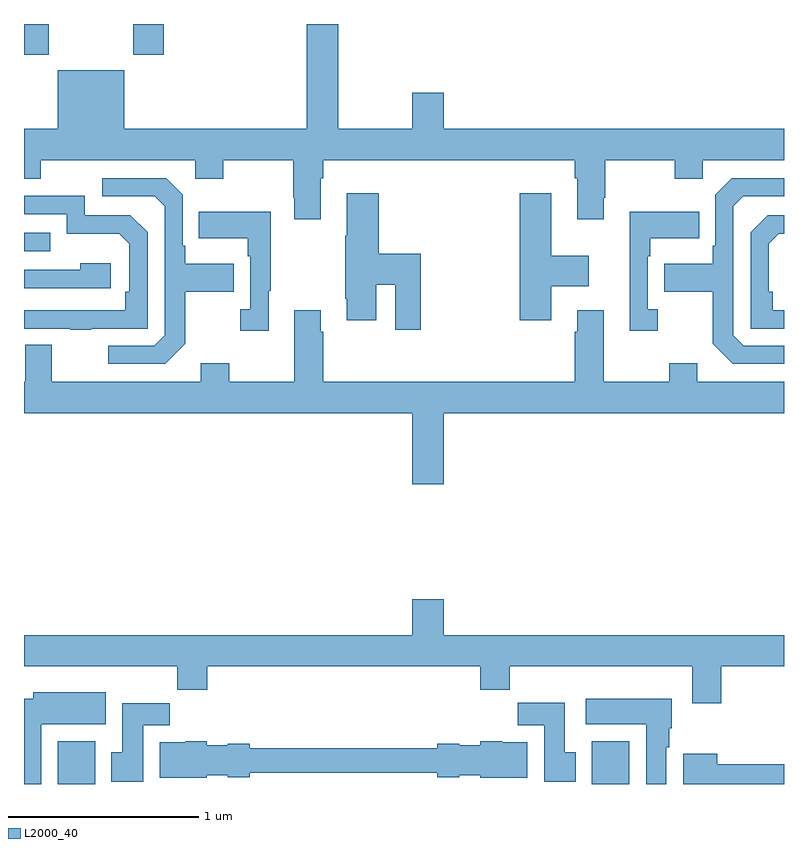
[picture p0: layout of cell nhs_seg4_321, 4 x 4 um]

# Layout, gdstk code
import gdstk
lib = gdstk.Library(unit=1e-6, precision=1e-09)
def R(c, l, rs):  # rectangles x0, y0, x1, y1
    for r in rs: c.add(gdstk.rectangle(r[:2], r[2:], *l))
def P(c, l, *ps):  # polygons
    for p in ps: c.add(gdstk.Polygon(p, *l))
L2000_40 = (2000, 40)

nhs_seg4_321 = lib.new_cell('nhs_seg4_321')
R(nhs_seg4_321, L2000_40, [(127.178,762.9,127.375,763.126), (129.989,762.9,130.186,763.126), (127,765.705,127.139,765.801), (127,766.737,127.131,766.9), (127.576,766.737,127.736,766.9)])
P(nhs_seg4_321, L2000_40, [(127.528,766.657),(127.178,766.657),(127.178,766.348),(127,766.348),(127,766.085),(127.089,766.085),(127.089,766.184),(127.902,766.184),(127.902,766.085),(128.049,766.085),(128.049,766.184),(128.416,766.184),(128.416,765.985),(128.423,765.985),(128.423,765.873),(128.563,765.873),(128.563,766.088),(128.576,766.088),(128.576,766.184),(129.899,766.184),(129.899,766.088),(129.911,766.088),(129.911,765.873),(130.051,765.873),(130.051,765.985),(130.059,765.985),(130.059,766.184),(130.426,766.184),(130.426,766.085),(130.572,766.085),(130.572,766.184),(131,766.184),(131,766.348),(129.208,766.348),(129.208,766.537),(129.044,766.537),(129.044,766.348),(128.653,766.348),(128.653,766.9),(128.489,766.9),(128.489,766.348),(127.528,766.348)],
  [(131,765.207),(130.788,765.207),(130.734,765.261),(130.734,765.942),(130.785,765.993),(131,765.993),(131,766.089),(130.725,766.089),(130.638,766.002),(130.638,765.733),(130.626,765.733),(130.626,765.637),(130.369,765.637),(130.369,765.49),(130.626,765.49),(130.626,765.217),(130.731,765.111),(131,765.111)],
  [(127.849,765.217),(127.849,765.49),(128.105,765.49),(128.105,765.637),(127.849,765.637),(127.849,765.733),(127.836,765.733),(127.836,766.002),(127.749,766.089),(127.413,766.089),(127.413,765.993),(127.689,765.993),(127.74,765.942),(127.74,765.261),(127.686,765.207),(127.443,765.207),(127.443,765.111),(127.743,765.111)],
  [(129.775,765.521),(129.973,765.521),(129.973,765.679),(129.775,765.679),(129.775,766.009),(129.608,766.009),(129.608,765.342),(129.775,765.342)],
  [(129.089,765.692),(128.867,765.692),(128.867,766.009),(128.699,766.009),(128.699,765.785),(128.692,765.785),(128.692,765.454),(128.699,765.454),(128.699,765.342),(128.854,765.342),(128.854,765.527),(128.954,765.527),(128.954,765.291),(129.089,765.291)],
  [(127.355,765.297),(127.65,765.297),(127.65,765.804),(127.56,765.894),(127.32,765.894),(127.32,765.996),(127,765.996),(127,765.9),(127.224,765.9),(127.224,765.797),(127.501,765.797),(127.554,765.744),(127.554,765.49),(127.534,765.49),(127.534,765.393),(127,765.393),(127,765.297),(127.243,765.297),(127.243,765.292),(127.355,765.292)],
  [(128.287,765.497),(128.299,765.497),(128.299,765.913),(127.921,765.913),(127.921,765.773),(128.178,765.773),(128.178,765.677),(128.19,765.677),(128.19,765.398),(128.139,765.398),(128.139,765.285),(128.287,765.285)],
  [(130.336,765.398),(130.284,765.398),(130.284,765.677),(130.297,765.677),(130.297,765.773),(130.553,765.773),(130.553,765.913),(130.187,765.913),(130.187,765.285),(130.336,765.285)],
  [(131,765.393),(130.94,765.393),(130.94,765.49),(130.92,765.49),(130.92,765.744),(130.973,765.797),(131,765.797),(131,765.894),(130.914,765.894),(130.824,765.804),(130.824,765.297),(131,765.297)],
  [(127.456,765.64),(127.295,765.64),(127.295,765.606),(127,765.606),(127,765.51),(127.456,765.51)],
  [(129.208,764.852),(131,764.852),(131,765.016),(130.543,765.016),(130.543,765.115),(130.396,765.115),(130.396,765.016),(130.051,765.016),(130.051,765.394),(129.911,765.394),(129.911,765.281),(129.899,765.281),(129.899,765.016),(128.576,765.016),(128.576,765.281),(128.563,765.281),(128.563,765.394),(128.423,765.394),(128.423,765.016),(128.079,765.016),(128.079,765.115),(127.931,765.115),(127.931,765.016),(127.147,765.016),(127.147,765.211),(127.007,765.211),(127.007,765.016),(127,765.016),(127,764.852),(129.044,764.852),(129.044,764.478),(129.208,764.478)],
  [(130.67,763.52),(131,763.52),(131,763.684),(129.208,763.684),(129.208,763.873),(129.044,763.873),(129.044,763.684),(127,763.684),(127,763.52),(127.807,763.52),(127.807,763.396),(127.964,763.396),(127.964,763.52),(129.401,763.52),(129.401,763.396),(129.557,763.396),(129.557,763.52),(130.517,763.52),(130.517,763.326),(130.67,763.326)],
  [(127.09,763.214),(127.429,763.214),(127.429,763.384),(127.049,763.384),(127.049,763.348),(127,763.348),(127,762.9),(127.09,762.9)],
  [(130.381,763.094),(130.396,763.094),(130.396,763.194),(130.408,763.194),(130.408,763.348),(129.957,763.348),(129.957,763.214),(130.274,763.214),(130.274,762.9),(130.381,762.9)],
  [(129.904,763.068),(129.847,763.068),(129.847,763.327),(129.598,763.327),(129.598,763.208),(129.737,763.208),(129.737,762.912),(129.904,762.912)],
  [(127.627,763.208),(127.766,763.208),(127.766,763.326),(127.517,763.326),(127.517,763.068),(127.46,763.068),(127.46,762.912),(127.627,762.912)],
  [(127.962,762.947),(128.073,762.947),(128.073,762.935),(128.188,762.935),(128.188,762.958),(129.176,762.958),(129.176,762.935),(129.291,762.935),(129.291,762.947),(129.402,762.947),(129.402,762.932),(129.649,762.932),(129.649,763.12),(129.516,763.12),(129.516,763.126),(129.402,763.126),(129.402,763.105),(129.291,763.105),(129.291,763.113),(129.176,763.113),(129.176,763.087),(128.188,763.087),(128.188,763.113),(128.073,763.113),(128.073,763.105),(127.962,763.105),(127.962,763.126),(127.848,763.126),(127.848,763.12),(127.715,763.12),(127.715,762.932),(127.962,762.932)],
  [(131,763.004),(130.648,763.004),(130.648,763.06),(130.469,763.06),(130.469,762.9),(131,762.9)])

lib.write_gds('nhs_seg4_321.gds')
